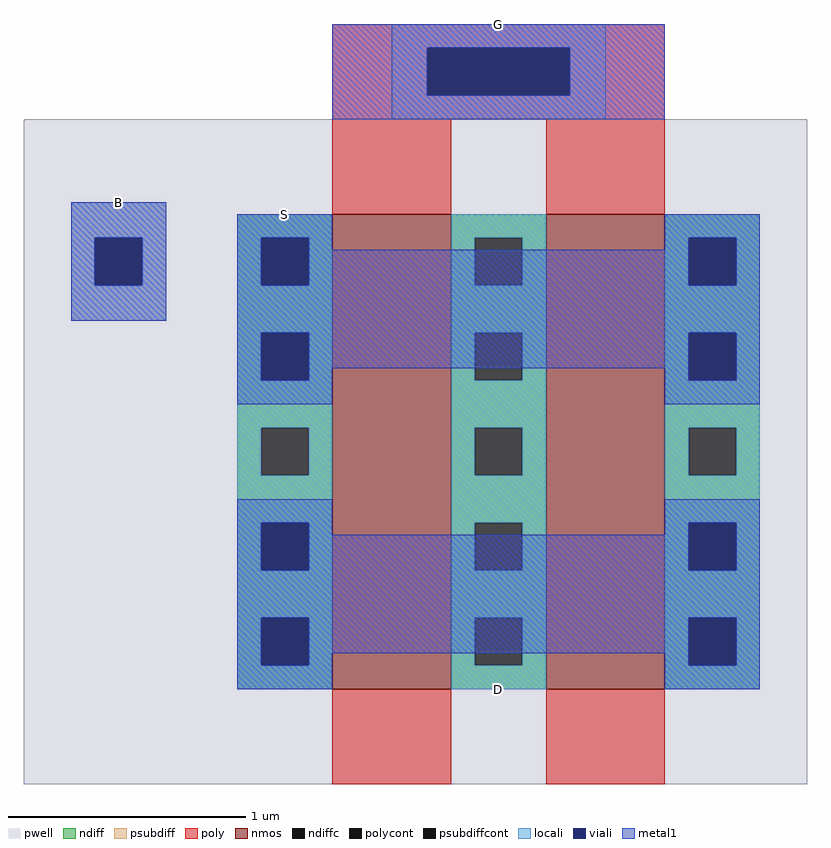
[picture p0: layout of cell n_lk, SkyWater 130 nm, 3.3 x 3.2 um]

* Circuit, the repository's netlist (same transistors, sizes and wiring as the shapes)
* NGSPICE file created from n_lk.ext - technology: sky130A

.subckt n_lk G S D B
X0 D G S B sky130_fd_pr__nfet_01v8 ad=0.4 pd=2.4 as=0.8 ps=4.8 w=2 l=0.5 M=2
.ends

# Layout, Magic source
magic
tech sky130A
<< pwell >>
rect -130 -40 200 240
<< nmos >>
rect 0 0 50 200
rect 90 0 140 200
<< ndiff >>
rect -40 190 0 200
rect -40 170 -30 190
rect -10 170 0 190
rect -40 150 0 170
rect -40 130 -30 150
rect -10 130 0 150
rect -40 110 0 130
rect -40 90 -30 110
rect -10 90 0 110
rect -40 70 0 90
rect -40 50 -30 70
rect -10 50 0 70
rect -40 30 0 50
rect -40 10 -30 30
rect -10 10 0 30
rect -40 0 0 10
rect 50 190 90 200
rect 50 170 60 190
rect 80 170 90 190
rect 50 150 90 170
rect 50 130 60 150
rect 80 130 90 150
rect 50 110 90 130
rect 50 90 60 110
rect 80 90 90 110
rect 50 70 90 90
rect 50 50 60 70
rect 80 50 90 70
rect 50 30 90 50
rect 50 10 60 30
rect 80 10 90 30
rect 50 0 90 10
rect 140 190 180 200
rect 140 170 150 190
rect 170 170 180 190
rect 140 150 180 170
rect 140 130 150 150
rect 170 130 180 150
rect 140 110 180 130
rect 140 90 150 110
rect 170 90 180 110
rect 140 70 180 90
rect 140 50 150 70
rect 170 50 180 70
rect 140 30 180 50
rect 140 10 150 30
rect 170 10 180 30
rect 140 0 180 10
<< ndiffc >>
rect -30 170 -10 190
rect -30 130 -10 150
rect -30 90 -10 110
rect -30 50 -10 70
rect -30 10 -10 30
rect 60 170 80 190
rect 60 130 80 150
rect 60 90 80 110
rect 60 50 80 70
rect 60 10 80 30
rect 150 170 170 190
rect 150 130 170 150
rect 150 90 170 110
rect 150 50 170 70
rect 150 10 170 30
<< psubdiff >>
rect -110 190 -70 205
rect -110 170 -100 190
rect -80 170 -70 190
rect -110 155 -70 170
<< psubdiffcont >>
rect -100 170 -80 190
<< poly >>
rect 0 270 140 280
rect 0 250 40 270
rect 100 250 140 270
rect 0 240 140 250
rect 0 200 50 240
rect 90 200 140 240
rect 0 -40 50 0
rect 90 -40 140 0
<< polycont >>
rect 40 250 100 270
<< locali >>
rect 25 270 115 280
rect 25 250 40 270
rect 100 250 115 270
rect 25 240 115 250
rect -110 190 -70 205
rect -110 170 -100 190
rect -80 170 -70 190
rect -110 155 -70 170
rect -40 190 0 200
rect -40 170 -30 190
rect -10 170 0 190
rect -40 150 0 170
rect -40 130 -30 150
rect -10 130 0 150
rect -40 110 0 130
rect -40 90 -30 110
rect -10 90 0 110
rect -40 70 0 90
rect -40 50 -30 70
rect -10 50 0 70
rect -40 30 0 50
rect -40 10 -30 30
rect -10 10 0 30
rect -40 0 0 10
rect 50 190 90 200
rect 50 170 60 190
rect 80 170 90 190
rect 50 150 90 170
rect 50 130 60 150
rect 80 130 90 150
rect 50 110 90 130
rect 50 90 60 110
rect 80 90 90 110
rect 50 70 90 90
rect 50 50 60 70
rect 80 50 90 70
rect 50 30 90 50
rect 50 10 60 30
rect 80 10 90 30
rect 50 0 90 10
rect 140 190 180 200
rect 140 170 150 190
rect 170 170 180 190
rect 140 150 180 170
rect 140 130 150 150
rect 170 130 180 150
rect 140 110 180 130
rect 140 90 150 110
rect 170 90 180 110
rect 140 70 180 90
rect 140 50 150 70
rect 170 50 180 70
rect 140 30 180 50
rect 140 10 150 30
rect 170 10 180 30
rect 140 0 180 10
<< viali >>
rect 40 250 100 270
rect -100 170 -80 190
rect -30 170 -10 190
rect -30 130 -10 150
rect -30 50 -10 70
rect -30 10 -10 30
rect 150 170 170 190
rect 150 130 170 150
rect 150 50 170 70
rect 150 10 170 30
<< metal1 >>
rect 0 270 140 280
rect 0 250 40 270
rect 100 250 140 270
rect 0 240 140 250
rect -110 190 -70 205
rect -110 170 -100 190
rect -80 170 -70 190
rect -110 155 -70 170
rect -40 190 0 200
rect -40 170 -30 190
rect -10 185 0 190
rect 140 190 180 200
rect 140 185 150 190
rect -10 170 150 185
rect 170 170 180 190
rect -40 150 180 170
rect -40 130 -30 150
rect -10 135 150 150
rect -10 130 0 135
rect -40 120 0 130
rect 140 130 150 135
rect 170 130 180 150
rect 140 120 180 130
rect -40 70 0 80
rect -40 50 -30 70
rect -10 65 0 70
rect 140 70 180 80
rect 140 65 150 70
rect -10 50 150 65
rect 170 50 180 70
rect -40 30 180 50
rect -40 10 -30 30
rect -10 15 150 30
rect -10 10 0 15
rect -40 0 0 10
rect 140 10 150 15
rect 170 10 180 30
rect 140 0 180 10
<< labels >>
rlabel metal1 -90 205 -90 205 1 B
port 4 n
rlabel metal1 -20 200 -20 200 1 S
port 2 n
rlabel locali 70 0 70 0 5 D
port 3 s
rlabel metal1 70 280 70 280 1 G
port 1 n
<< end >>
